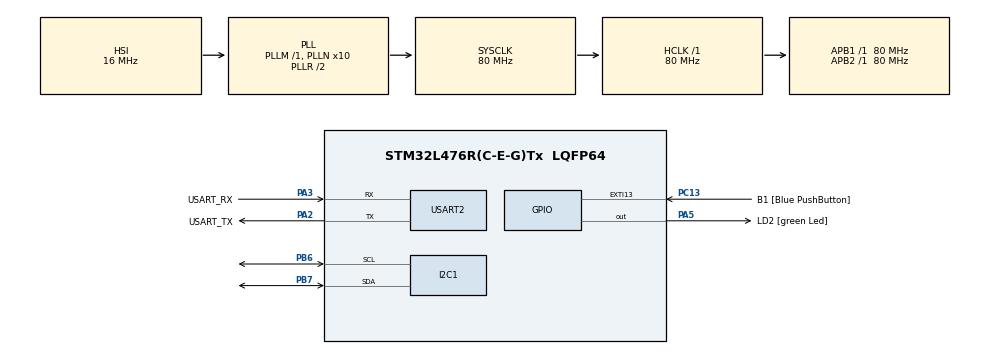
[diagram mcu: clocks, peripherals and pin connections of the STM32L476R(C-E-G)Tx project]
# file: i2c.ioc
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I2C1.Timing=0x10D19CE4
Mcu.Family=STM32L4
Mcu.Name=STM32L476R(C-E-G)Tx
Mcu.Package=LQFP64
NVIC.PriorityGroup=NVIC_PRIORITYGROUP_4
PA13\ (JTMS-SWDIO).GPIO_Label=TMS
PA13\ (JTMS-SWDIO).Mode=Serial_Wire
PA13\ (JTMS-SWDIO).Signal=SYS_JTMS-SWDIO
PA14\ (JTCK-SWCLK).GPIO_Label=TCK
PA14\ (JTCK-SWCLK).Mode=Serial_Wire
PA14\ (JTCK-SWCLK).Signal=SYS_JTCK-SWCLK
PA2.GPIO_Label=USART_TX
PA2.GPIO_Mode=GPIO_MODE_AF_PP
PA2.GPIO_PuPd=GPIO_NOPULL
PA2.GPIO_Speed=GPIO_SPEED_FREQ_VERY_HIGH
PA2.Mode=Asynchronous
PA2.Signal=USART2_TX
PA3.GPIO_Label=USART_RX
PA3.GPIO_Mode=GPIO_MODE_AF_PP
PA3.GPIO_PuPd=GPIO_NOPULL
PA3.GPIO_Speed=GPIO_SPEED_FREQ_VERY_HIGH
PA3.Mode=Asynchronous
PA3.Signal=USART2_RX
PA5.GPIO_Label=LD2 [green Led]
PA5.GPIO_ModeDefaultOutputPP=GPIO_MODE_OUTPUT_PP
PA5.GPIO_PuPd=GPIO_NOPULL
PA5.GPIO_Speed=GPIO_SPEED_FREQ_LOW
PA5.Signal=GPIO_Output
PB3\ (JTDO-TRACESWO).GPIO_Label=SWO
PB3\ (JTDO-TRACESWO).Signal=SYS_JTDO-SWO
PB6.Mode=I2C
PB6.Signal=I2C1_SCL
PB7.Mode=I2C
PB7.Signal=I2C1_SDA
PC13.GPIO_Label=B1 [Blue PushButton]
PC13.GPIO_ModeDefaultEXTI=GPIO_MODE_IT_FALLING
PC13.GPIO_PuPd=GPIO_NOPULL
PC13.Signal=GPXTI13
PC14-OSC32_IN\ (PC14).Signal=RCC_OSC32_IN
PC15-OSC32_OUT\ (PC15).Signal=RCC_OSC32_OUT
PH0-OSC_IN\ (PH0).Mode=HSE-External-Oscillator
PH0-OSC_IN\ (PH0).Signal=RCC_OSC_IN
PH1-OSC_OUT\ (PH1).Mode=HSE-External-Oscillator
PH1-OSC_OUT\ (PH1).Signal=RCC_OSC_OUT
ProjectManager.HeapSize=0x200
ProjectManager.StackSize=0x400
ProjectManager.TargetToolchain=STM32CubeIDE
RCC.ADCFreq_Value=64000000
RCC.AHBFreq_Value=80000000
RCC.APB1Freq_Value=80000000
RCC.APB1TimFreq_Value=80000000
RCC.APB2Freq_Value=80000000
RCC.APB2TimFreq_Value=80000000
RCC.CortexFreq_Value=80000000
RCC.HCLKFreq_Value=80000000
RCC.HSE_VALUE=8000000
RCC.HSI_VALUE=16000000
RCC.MSI_VALUE=4000000
RCC.PLLN=10
RCC.PLLSourceVirtual=RCC_PLLSOURCE_HSI
RCC.PREFETCH_ENABLE=1
RCC.SYSCLKFreq_VALUE=80000000
RCC.SYSCLKSource=RCC_SYSCLKSOURCE_PLLCLK
RCC.USBFreq_Value=64000000
RCC.VCOOutputFreq_Value=160000000
USART2.VirtualMode-Asynchronous=VM_ASYNC
board=NUCLEO-L476RG

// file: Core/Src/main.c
/* USER CODE BEGIN Header */
/**
  ******************************************************************************
  * @file           : main.c
  * @brief          : Main program body
  ******************************************************************************
  * @attention
  *
  * Copyright (c) 2025 STMicroelectronics.
  * All rights reserved.
  *
  * This software is licensed under terms that can be found in the LICENSE file
  * in the root directory of this software component.
  * If no LICENSE file comes with this software, it is provided AS-IS.
  *
  ******************************************************************************
  */
/* USER CODE END Header */
#include "main.h"

/* USER CODE BEGIN PM */
#define I2C_SLAVE_ADDR   (0x68 << 1)
/* USER CODE END PM */

I2C_HandleTypeDef hi2c1;

UART_HandleTypeDef huart2;

/* USER CODE BEGIN PV */
uint8_t slave_data[6];
uint16_t accVal1,accVal2,accVal3;
char TxData[20]="I2C Communication\r\n",uartTxData[64];
/* USER CODE END PV */

void SystemClock_Config(void);
static void MX_GPIO_Init(void);
static void MX_USART2_UART_Init(void);
static void MX_I2C1_Init(void);

/* USER CODE BEGIN 0 */
void ADXL345_init(void)
{
	uint8_t data =0x8;
	HAL_I2C_Mem_Write(&hi2c1, I2C_SLAVE_ADDR, 0x2D, 1, &data, 1, HAL_MAX_DELAY);
	data =0x8;
	HAL_I2C_Mem_Write(&hi2c1, I2C_SLAVE_ADDR, 0x31, 1, &data, 1, HAL_MAX_DELAY);
}
void ADXL345_read(void)
{
	HAL_I2C_Mem_Read(&hi2c1,I2C_SLAVE_ADDR,0x32,1,slave_data,6,HAL_MAX_DELAY);
	accVal1 = (uint16_t)(slave_data[1] << 8 | slave_data[0]);
	accVal2 = (uint16_t)(slave_data[3] << 8 | slave_data[2]);
	accVal3 = (uint16_t)(slave_data[5] << 8 | slave_data[4]);

}
/* USER CODE END 0 */

int main(void)
{

  /* MCU Configuration--------------------------------------------------------*/

  /* Reset of all peripherals, Initializes the Flash interface and the Systick. */
  HAL_Init();

  /* Configure the system clock */
  SystemClock_Config();

  /* Initialize all configured peripherals */
  MX_GPIO_Init();
  MX_USART2_UART_Init();
  MX_I2C1_Init();
  /* USER CODE BEGIN 2 */
   if(HAL_I2C_Master_Transmit(&hi2c1,I2C_SLAVE_ADDR, TxData, sizeof(TxData)-1, HAL_MAX_DELAY) == HAL_OK)
   {
	   HAL_GPIO_WritePin(GPIOA, LD2_Pin, GPIO_PIN_SET);
   }
   else
   {
	   HAL_GPIO_WritePin(GPIOA, LD2_Pin, GPIO_PIN_RESET);
   }
   ADXL345_init();
  /* USER CODE END 2 */

  /* Infinite loop */
  /* USER CODE BEGIN WHILE */
  while (1)
  {
	  ADXL345_read();
    /* USER CODE END WHILE */

    /* USER CODE BEGIN 3 */
	  snprintf(uartTxData,sizeof(uartTxData),"accVal1 = %d, accVal2 = %d accVal3 = %d,",accVal1,accVal2,accVal3);
	  HAL_UART_Transmit(&huart2, uartTxData, strlen(uartTxData), HAL_MAX_DELAY);
	  HAL_Delay(HAL_MAX_DELAY);
  }
  /* USER CODE END 3 */
}

void SystemClock_Config(void)
{
  RCC_OscInitTypeDef RCC_OscInitStruct = {0};
  RCC_ClkInitTypeDef RCC_ClkInitStruct = {0};

  /** Configure the main internal regulator output voltage
  */
  if (HAL_PWREx_ControlVoltageScaling(PWR_REGULATOR_VOLTAGE_SCALE1) != HAL_OK)
  {
    Error_Handler();
  }

  /** Initializes the RCC Oscillators according to the specified parameters
  * in the RCC_OscInitTypeDef structure.
  */
  RCC_OscInitStruct.OscillatorType = RCC_OSCILLATORTYPE_HSI;
  RCC_OscInitStruct.HSIState = RCC_HSI_ON;
  RCC_OscInitStruct.HSICalibrationValue = RCC_HSICALIBRATION_DEFAULT;
  RCC_OscInitStruct.PLL.PLLState = RCC_PLL_ON;
  RCC_OscInitStruct.PLL.PLLSource = RCC_PLLSOURCE_HSI;
  RCC_OscInitStruct.PLL.PLLM = 1;
  RCC_OscInitStruct.PLL.PLLN = 10;
  RCC_OscInitStruct.PLL.PLLP = RCC_PLLP_DIV7;
  RCC_OscInitStruct.PLL.PLLQ = RCC_PLLQ_DIV2;
  RCC_OscInitStruct.PLL.PLLR = RCC_PLLR_DIV2;
  if (HAL_RCC_OscConfig(&RCC_OscInitStruct) != HAL_OK)
  {
    Error_Handler();
  }

  /** Initializes the CPU, AHB and APB buses clocks
  */
  RCC_ClkInitStruct.ClockType = RCC_CLOCKTYPE_HCLK|RCC_CLOCKTYPE_SYSCLK
                              |RCC_CLOCKTYPE_PCLK1|RCC_CLOCKTYPE_PCLK2;
  RCC_ClkInitStruct.SYSCLKSource = RCC_SYSCLKSOURCE_PLLCLK;
  RCC_ClkInitStruct.AHBCLKDivider = RCC_SYSCLK_DIV1;
  RCC_ClkInitStruct.APB1CLKDivider = RCC_HCLK_DIV1;
  RCC_ClkInitStruct.APB2CLKDivider = RCC_HCLK_DIV1;

  if (HAL_RCC_ClockConfig(&RCC_ClkInitStruct, FLASH_LATENCY_4) != HAL_OK)
  {
    Error_Handler();
  }
}

static void MX_I2C1_Init(void)
{

  hi2c1.Instance = I2C1;
  hi2c1.Init.Timing = 0x10D19CE4;
  hi2c1.Init.OwnAddress1 = 0;
  hi2c1.Init.AddressingMode = I2C_ADDRESSINGMODE_7BIT;
  hi2c1.Init.DualAddressMode = I2C_DUALADDRESS_DISABLE;
  hi2c1.Init.OwnAddress2 = 0;
  hi2c1.Init.OwnAddress2Masks = I2C_OA2_NOMASK;
  hi2c1.Init.GeneralCallMode = I2C_GENERALCALL_DISABLE;
  hi2c1.Init.NoStretchMode = I2C_NOSTRETCH_DISABLE;
  if (HAL_I2C_Init(&hi2c1) != HAL_OK)
  {
    Error_Handler();
  }

  /** Configure Analogue filter
  */
  if (HAL_I2CEx_ConfigAnalogFilter(&hi2c1, I2C_ANALOGFILTER_ENABLE) != HAL_OK)
  {
    Error_Handler();
  }

  /** Configure Digital filter
  */
  if (HAL_I2CEx_ConfigDigitalFilter(&hi2c1, 0) != HAL_OK)
  {
    Error_Handler();
  }

}

static void MX_USART2_UART_Init(void)
{

  huart2.Instance = USART2;
  huart2.Init.BaudRate = 115200;
  huart2.Init.WordLength = UART_WORDLENGTH_8B;
  huart2.Init.StopBits = UART_STOPBITS_1;
  huart2.Init.Parity = UART_PARITY_NONE;
  huart2.Init.Mode = UART_MODE_TX_RX;
  huart2.Init.HwFlowCtl = UART_HWCONTROL_NONE;
  huart2.Init.OverSampling = UART_OVERSAMPLING_16;
  huart2.Init.OneBitSampling = UART_ONE_BIT_SAMPLE_DISABLE;
  huart2.AdvancedInit.AdvFeatureInit = UART_ADVFEATURE_NO_INIT;
  if (HAL_UART_Init(&huart2) != HAL_OK)
  {
    Error_Handler();
  }

}

static void MX_GPIO_Init(void)
{
  GPIO_InitTypeDef GPIO_InitStruct = {0};

  /* GPIO Ports Clock Enable */
  __HAL_RCC_GPIOC_CLK_ENABLE();
  __HAL_RCC_GPIOH_CLK_ENABLE();
  __HAL_RCC_GPIOA_CLK_ENABLE();
  __HAL_RCC_GPIOB_CLK_ENABLE();

  /*Configure GPIO pin Output Level */
  HAL_GPIO_WritePin(LD2_GPIO_Port, LD2_Pin, GPIO_PIN_RESET);

  /*Configure GPIO pin : B1_Pin */
  GPIO_InitStruct.Pin = B1_Pin;
  GPIO_InitStruct.Mode = GPIO_MODE_IT_FALLING;
  GPIO_InitStruct.Pull = GPIO_NOPULL;
  HAL_GPIO_Init(B1_GPIO_Port, &GPIO_InitStruct);

  /*Configure GPIO pin : LD2_Pin */
  GPIO_InitStruct.Pin = LD2_Pin;
  GPIO_InitStruct.Mode = GPIO_MODE_OUTPUT_PP;
  GPIO_InitStruct.Pull = GPIO_NOPULL;
  GPIO_InitStruct.Speed = GPIO_SPEED_FREQ_LOW;
  HAL_GPIO_Init(LD2_GPIO_Port, &GPIO_InitStruct);

}

void Error_Handler(void)
{
  __disable_irq();
  while (1)
  {
  }
}
